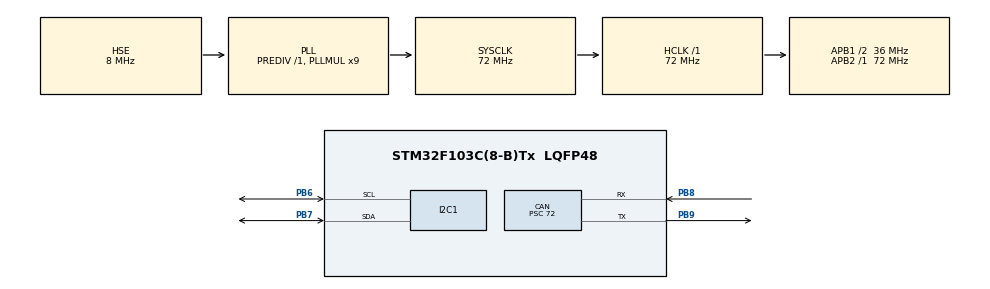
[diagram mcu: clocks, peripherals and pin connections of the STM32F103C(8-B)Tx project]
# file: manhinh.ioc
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CAN.BS1=CAN_BS1_2TQ
CAN.CalculateBaudRate=125000
CAN.CalculateTimeBit=8000
CAN.CalculateTimeQuantum=2000.0
CAN.Prescaler=72
Mcu.Family=STM32F1
Mcu.Name=STM32F103C(8-B)Tx
Mcu.Package=LQFP48
NVIC.CAN1_RX1_IRQn=true\:0\:0\:false\:false\:true\:true\:true\:true
NVIC.PriorityGroup=NVIC_PRIORITYGROUP_4
PA13.Mode=Serial_Wire
PA13.Signal=SYS_JTMS-SWDIO
PA14.Mode=Serial_Wire
PA14.Signal=SYS_JTCK-SWCLK
PB6.Mode=I2C
PB6.Signal=I2C1_SCL
PB7.Mode=I2C
PB7.Signal=I2C1_SDA
PB8.Mode=CAN_Activate
PB8.Signal=CAN_RX
PB9.Mode=CAN_Activate
PB9.Signal=CAN_TX
PD0-OSC_IN.Mode=HSE-External-Oscillator
PD0-OSC_IN.Signal=RCC_OSC_IN
PD1-OSC_OUT.Mode=HSE-External-Oscillator
PD1-OSC_OUT.Signal=RCC_OSC_OUT
ProjectManager.HeapSize=0x200
ProjectManager.StackSize=0x400
ProjectManager.TargetToolchain=STM32CubeIDE
RCC.AHBFreq_Value=72000000
RCC.APB1CLKDivider=RCC_HCLK_DIV2
RCC.APB1Freq_Value=36000000
RCC.APB1TimFreq_Value=72000000
RCC.APB2Freq_Value=72000000
RCC.APB2TimFreq_Value=72000000
RCC.HCLKFreq_Value=72000000
RCC.PLLMUL=RCC_PLL_MUL9
RCC.PLLSourceVirtual=RCC_PLLSOURCE_HSE
RCC.SYSCLKFreq_VALUE=72000000
RCC.SYSCLKSource=RCC_SYSCLKSOURCE_PLLCLK
RCC.USBFreq_Value=72000000
board=custom

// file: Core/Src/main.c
/* USER CODE BEGIN Header */
/**
  ******************************************************************************
  * @file           : main.c
  * @brief          : Main program body
  ******************************************************************************
  * @attention
  *
  * Copyright (c) 2025 STMicroelectronics.
  * All rights reserved.
  *
  * This software is licensed under terms that can be found in the LICENSE file
  * in the root directory of this software component.
  * If no LICENSE file comes with this software, it is provided AS-IS.
  *
  ******************************************************************************
  */
/* USER CODE END Header */
#include "main.h"
#include "can.h"
#include "i2c.h"
#include "gpio.h"

/* USER CODE BEGIN Includes */
#include "ssd1306.h"
#include "ssd1306_fonts.h"
#include "stdio.h"
#include "string.h"
#include <math.h>

/* USER CODE END Includes */

/* USER CODE BEGIN PV */
// CAN Rx
float roll, pitch;
char angle_buffer[20];

CAN_RxHeaderTypeDef RxHeader;
uint8_t RxData[8];

// Biến nhận giá trị trục X/Y/Z
int16_t x_raw, y_raw, z_raw;
char buffer[20];

void SystemClock_Config(void);

//CAN_HandleTypeDef hcan;
//I2C_HandleTypeDef hi2c1;
/* USER CODE END PV */

void SystemClock_Config(void);

int main(void)
{

  /* MCU Configuration--------------------------------------------------------*/

  /* Reset of all peripherals, Initializes the Flash interface and the Systick. */
  HAL_Init();

  /* Configure the system clock */
  SystemClock_Config();

  /* Initialize all configured peripherals */
  MX_GPIO_Init();
  MX_CAN_Init();
  MX_I2C1_Init();
  /* USER CODE BEGIN 2 */
  HAL_Init();
  SystemClock_Config();
  MX_GPIO_Init();
  MX_CAN_Init();
  MX_I2C1_Init();

  // OLED init
  ssd1306_Init();
  ssd1306_Fill(Black);
  ssd1306_UpdateScreen();

  // CAN start
  HAL_CAN_Start(&hcan);
  HAL_CAN_ActivateNotification(&hcan, CAN_IT_RX_FIFO1_MSG_PENDING);
  /* USER CODE END 2 */

  /* Infinite loop */
  while (1)
  {

  }
}

// Ngắt nhận CAN
void HAL_CAN_RxFifo1MsgPendingCallback(CAN_HandleTypeDef *hcan)
{
    HAL_CAN_GetRxMessage(hcan, CAN_RX_FIFO1, &RxHeader, RxData);

    // Ghép byte thành int16_t
    x_raw = (RxData[0] << 8) | RxData[1];
    y_raw = (RxData[2] << 8) | RxData[3];
    z_raw = (RxData[4] << 8) | RxData[5];

    // Tính roll và pitch
    float roll  = atan2((float)y_raw, (float)z_raw) * 180 / M_PI;
    float pitch = atan2(-(float)x_raw, sqrt((float)y_raw * y_raw + (float)z_raw * z_raw)) * 180 / M_PI;

    // Hiển thị lên OLED
    ssd1306_Fill(Black);

    sprintf(buffer, "X: %d", x_raw);
    ssd1306_SetCursor(0, 0);
    ssd1306_WriteString(buffer, Font_7x10, White);

    sprintf(buffer, "Y: %d", y_raw);
    ssd1306_SetCursor(0, 12);
    ssd1306_WriteString(buffer, Font_7x10, White);

    sprintf(buffer, "Z: %d", z_raw);
    ssd1306_SetCursor(0, 24);
    ssd1306_WriteString(buffer, Font_7x10, White);

    sprintf(buffer, "Roll: %.1f", roll);
    ssd1306_SetCursor(64, 0);
    ssd1306_WriteString(buffer, Font_6x8, White);

    sprintf(buffer, "Pitch: %.1f", pitch);
    ssd1306_SetCursor(64, 10);
    ssd1306_WriteString(buffer, Font_6x8, White);

    // Cảnh báo nếu nghiêng quá
    if (fabs(roll) > 30 || fabs(pitch) > 30)
    {
        ssd1306_SetCursor(0, 36);
        ssd1306_WriteString("WARNING!", Font_7x10, White);
    }

    ssd1306_UpdateScreen();
}

void SystemClock_Config(void)
{
  RCC_OscInitTypeDef RCC_OscInitStruct = {0};
  RCC_ClkInitTypeDef RCC_ClkInitStruct = {0};

  /** Initializes the RCC Oscillators according to the specified parameters
  * in the RCC_OscInitTypeDef structure.
  */
  RCC_OscInitStruct.OscillatorType = RCC_OSCILLATORTYPE_HSE;
  RCC_OscInitStruct.HSEState = RCC_HSE_ON;
  RCC_OscInitStruct.HSEPredivValue = RCC_HSE_PREDIV_DIV1;
  RCC_OscInitStruct.HSIState = RCC_HSI_ON;
  RCC_OscInitStruct.PLL.PLLState = RCC_PLL_ON;
  RCC_OscInitStruct.PLL.PLLSource = RCC_PLLSOURCE_HSE;
  RCC_OscInitStruct.PLL.PLLMUL = RCC_PLL_MUL9;
  if (HAL_RCC_OscConfig(&RCC_OscInitStruct) != HAL_OK)
  {
    Error_Handler();
  }

  /** Initializes the CPU, AHB and APB buses clocks
  */
  RCC_ClkInitStruct.ClockType = RCC_CLOCKTYPE_HCLK|RCC_CLOCKTYPE_SYSCLK
                              |RCC_CLOCKTYPE_PCLK1|RCC_CLOCKTYPE_PCLK2;
  RCC_ClkInitStruct.SYSCLKSource = RCC_SYSCLKSOURCE_PLLCLK;
  RCC_ClkInitStruct.AHBCLKDivider = RCC_SYSCLK_DIV1;
  RCC_ClkInitStruct.APB1CLKDivider = RCC_HCLK_DIV2;
  RCC_ClkInitStruct.APB2CLKDivider = RCC_HCLK_DIV1;

  if (HAL_RCC_ClockConfig(&RCC_ClkInitStruct, FLASH_LATENCY_2) != HAL_OK)
  {
    Error_Handler();
  }
}

void Error_Handler(void)
{
  __disable_irq();
  while (1)
  {
  }
}
